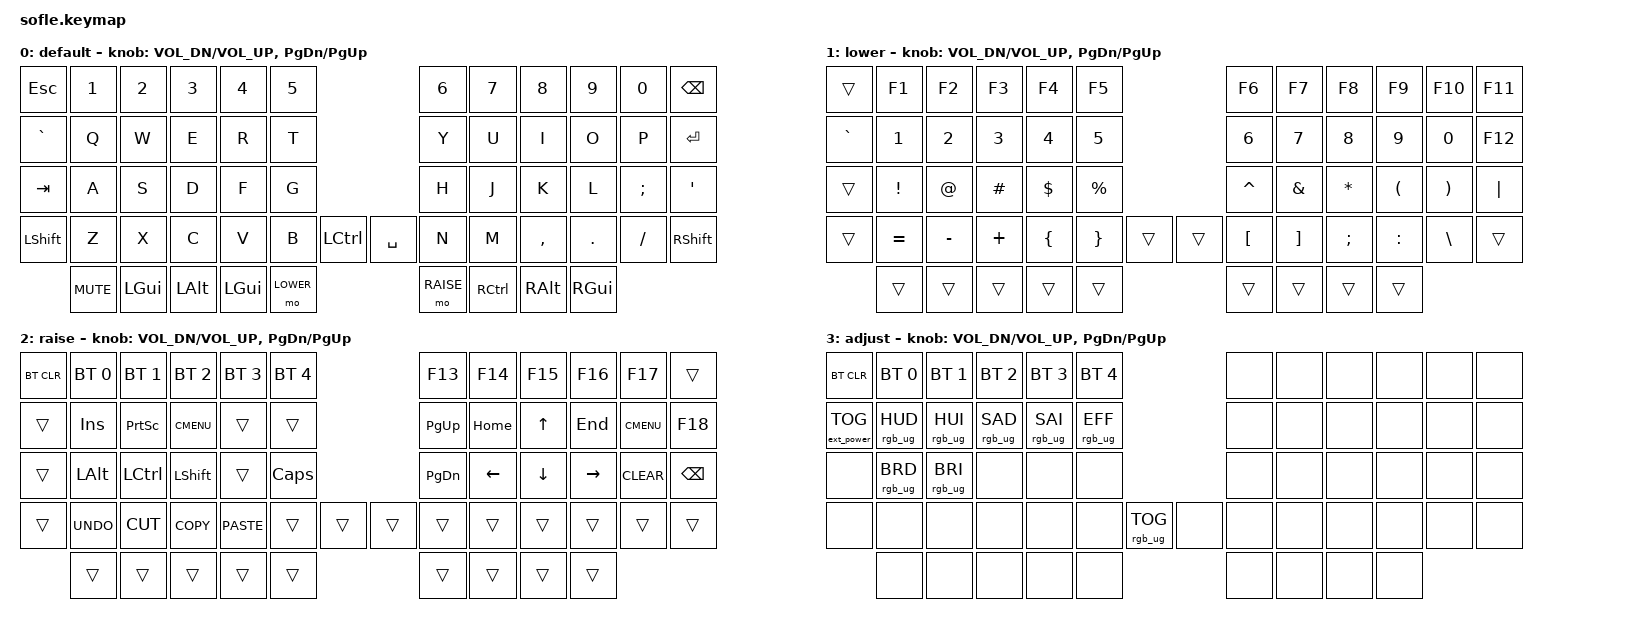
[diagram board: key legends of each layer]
#include <behaviors.dtsi>
#include <dt-bindings/zmk/keys.h>
#include <dt-bindings/zmk/bt.h>
#include <dt-bindings/zmk/rgb.h>
#include <dt-bindings/zmk/ext_power.h>

#define BASE 0
#define LOWER 1
#define RAISE 2
#define ADJUST 3

/ {

   // Activate ADJUST layer by pressing raise and lower
    conditional_layers {
        compatible = "zmk,conditional-layers";
        adjust_layer {
            if-layers = <LOWER RAISE>;
            then-layer = <ADJUST>;
        };
    };

    keymap {
        compatible = "zmk,keymap";

        default_layer {
            display-name = "default";
// ------------------------------------------------------------------------------------------------------------
// |   `   |  1  |  2  |  3   |  4   |  5   |                   |  6   |  7    |  8    |  9   |   0   |       |
// |  ESC  |  Q  |  W  |  E   |  R   |  T   |                   |  Y   |  U    |  I    |  O   |   P   | BKSPC |
// |  TAB  |  A  |  S  |  D   |  F   |  G   |                   |  H   |  J    |  K    |  L   |   ;   |   '   |
// | SHIFT |  Z  |  X  |  C   |  V   |  B   |  MUTE  |  |       |  N   |  M    |  ,    |  .   |   /   | SHIFT |
//               | GUI | ALT  | CTRL | LOWER|  ENTER |  | SPACE | RAISE| CTRL  | ALT   | GUI  |
            bindings = <
&kp ESC   &kp N1 &kp N2   &kp N3   &kp N4    &kp N5                             &kp N6    &kp N7    &kp N8    &kp N9   &kp N0   &kp BSPC
&kp GRAVE &kp Q      &kp W    &kp E    &kp R     &kp T                          &kp Y     &kp U     &kp I     &kp O    &kp P    &kp RET
&kp TAB   &kp A      &kp S    &kp D    &kp F     &kp G                          &kp H     &kp J     &kp K     &kp L    &kp SEMI &kp SQT
&kp LSHFT &kp Z      &kp X    &kp C    &kp V     &kp B     &kp LCTRL  &kp SPACE &kp N     &kp M     &kp COMMA &kp DOT  &kp FSLH &kp RSHFT
          &kp C_MUTE &kp LGUI &kp LALT &kp LGUI  &mo LOWER                      &mo RAISE &kp RCTRL &kp RALT  &kp RGUI
            >;

            sensor-bindings = <&inc_dec_kp C_VOL_DN C_VOL_UP &inc_dec_kp PG_DN PG_UP>;
        };

        lower_layer {
            display-name = "lower";
// TODO: Some binds are waiting for shifted keycode support.
// ------------------------------------------------------------------------------------------------------------
// |       |  F1 |  F2 |  F3  |  F4  |  F5  |                   |  F6  |  F7   |  F8   |  F9  |  F10  |  F11  |
// |   `   |  1  |  2  |  3   |  4   |  5   |                   |  6   |  7    |  8    |  9   |   0   |  F12  |
// |       |  !  |  @  |  #   |  $   |  %   |                   |  ^   |  &    |  *    |  (   |   )   |   |   |
// |       |  =  |  -  |  +   |  {   |  }   |        |  |       |  [   |  ]    |  ;    |  :   |   \   |       |
//               |     |      |      |      |        |  |       |      |       |       |      |
            bindings = <
&trans    &kp F1    &kp F2    &kp F3      &kp F4    &kp F5                    &kp F6    &kp F7   &kp F8    &kp F9    &kp F10   &kp F11
&kp GRAVE &kp N1    &kp N2    &kp N3      &kp N4    &kp N5                    &kp N6    &kp N7   &kp N8    &kp N9    &kp N0    &kp F12
&trans    &kp EXCL  &kp AT    &kp HASH    &kp DLLR  &kp PRCNT                 &kp CARET &kp AMPS &kp ASTRK &kp LPAR  &kp RPAR  &kp PIPE
&trans    &kp EQUAL &kp MINUS &kp PLUS    &kp LBRC  &kp RBRC  &trans  &trans  &kp LBKT  &kp RBKT &kp SEMI  &kp COLON &kp BSLH  &trans
          &trans    &trans    &trans      &trans    &trans                    &trans    &trans   &trans    &trans
            >;

            sensor-bindings = <&inc_dec_kp C_VOL_DN C_VOL_UP &inc_dec_kp PG_DN PG_UP>;
        };

        raise_layer {
            display-name = "raise";
// ------------------------------------------------------------------------------------------------------------
// | BTCLR | BT1  | BT2  |  BT3  |  BT4  |  BT5 |                |  F13 |  F14 |  F15  |  F16 |  F17  |       |
// |       | INS  | PSCR | GUI   |       |      |                | PGUP | HOME |   ^   |  END |K_CMENU|  F18  |
// |       | ALT  | CTRL | SHIFT |       | CAPS |                | PGDN |   <- |   v   |  ->  | CLEAR | BKSPC |
// |       | UNDO | CUT  | COPY  | PASTE |      |      |  |      |      |      |       |      |       |       |
//                |      |       |       |      |      |  |      |      |      |       |      |
            bindings = <
&bt BT_CLR &bt BT_SEL 0 &bt BT_SEL 1 &bt BT_SEL 2 &bt BT_SEL 3 &bt BT_SEL 4                  &kp F13   &kp F14   &kp F15  &kp F16   &kp F17     &trans
&trans     &kp INS      &kp PSCRN    &kp K_CMENU  &trans       &trans                        &kp PG_UP &kp HOME  &kp UP   &kp END   &kp K_CMENU &kp F18
&trans     &kp LALT     &kp LCTRL    &kp LSHFT    &trans       &kp CLCK                      &kp PG_DN &kp LEFT  &kp DOWN &kp RIGHT &kp CLEAR   &kp BSPC
&trans     &kp K_UNDO   &kp K_CUT    &kp K_COPY   &kp K_PASTE  &trans        &trans  &trans  &trans    &trans    &trans   &trans    &trans      &trans
           &trans       &trans       &trans       &trans       &trans                        &trans    &trans    &trans   &trans
            >;

            sensor-bindings = <&inc_dec_kp C_VOL_DN C_VOL_UP &inc_dec_kp PG_DN PG_UP>;
        };

        adjust_layer {
// ----------------------------------------------------------------------------------------------------------------------------
// | BTCLR  |  BT1    |  BT2    |   BT3   |   BT4   |   BT5   |                  |      |      |       |      |       |       |
// | EXTPWR | RGB_HUD | RGB_HUI | RGB_SAD | RGB_SAI | RGB_EFF |                  |      |      |       |      |       |       |
// |        | RGB_BRD | RGB_BRI |         |         |         |                  |      |      |       |      |       |       |
// |        |         |         |         |         |         | RGB_TOG | |      |      |      |       |      |       |       |
//                    |         |         |         |         |         | |      |      |      |       |      |
            display-name = "adjust";
            bindings = <
&bt BT_CLR        &bt BT_SEL 0    &bt BT_SEL 1    &bt BT_SEL 2    &bt BT_SEL 3    &bt BT_SEL 4                            &none &none &none &none &none &none
&ext_power EP_TOG &rgb_ug RGB_HUD &rgb_ug RGB_HUI &rgb_ug RGB_SAD &rgb_ug RGB_SAI &rgb_ug RGB_EFF                         &none &none &none &none &none &none
&none             &rgb_ug RGB_BRD &rgb_ug RGB_BRI &none           &none           &none                                   &none &none &none &none &none &none
&none             &none           &none           &none           &none           &none            &rgb_ug RGB_TOG &none  &none &none &none &none &none &none
                  &none           &none           &none           &none           &none                                   &none &none &none &none
            >;

            sensor-bindings = <&inc_dec_kp C_VOL_DN C_VOL_UP &inc_dec_kp PG_DN PG_UP>;

        };
    };
};
